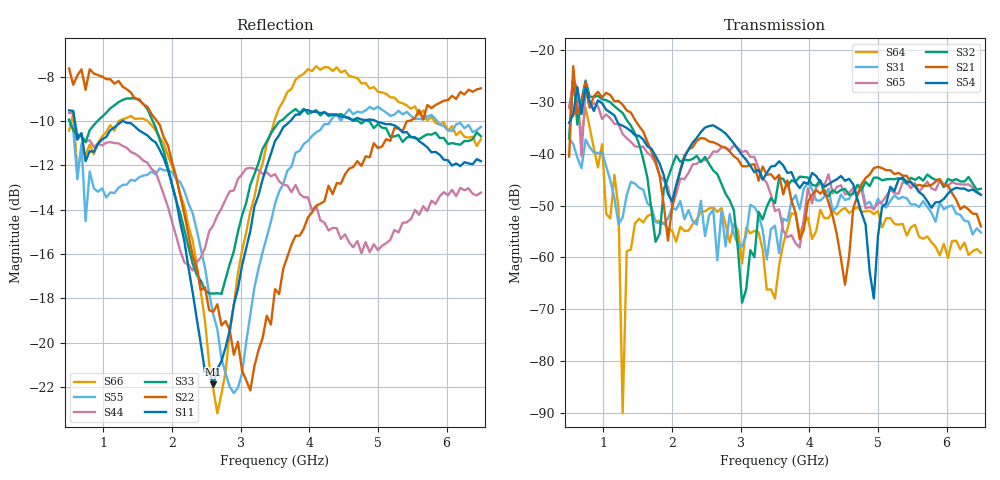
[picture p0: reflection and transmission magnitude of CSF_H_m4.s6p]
!Keysight Technologies,M9804A,MY58100912,A.14.10.03
!Date: Thursday, April 27, 2023 10:28:33
!Correction: S11(C  6-Port  )
!S12(C  6-Port  )
!S13(C  6-Port  )
!S14(C  6-Port  )
!S15(C  6-Port  )
!S16(C  6-Port  )
!S21(C  6-Port  )
!S22(C  6-Port  )
!S23(C  6-Port  )
!S24(C  6-Port  )
!S25(C  6-Port  )
!S26(C  6-Port  )
!S31(C  6-Port  )
!S32(C  6-Port  )
!S33(C  6-Port  )
!S34(C  6-Port  )
!S35(C  6-Port  )
!S36(C  6-Port  )
!S41(C  6-Port  )
!S42(C  6-Port  )
!S43(C  6-Port  )
!S44(C  6-Port  )
!S45(C  6-Port  )
!S46(C  6-Port  )
!S51(C  6-Port  )
!S52(C  6-Port  )
!S53(C  6-Port  )
!S54(C  6-Port  )
!S55(C  6-Port  )
!S56(C  6-Port  )
!S61(C  6-Port  )
!S62(C  6-Port  )
!S63(C  6-Port  )
!S64(C  6-Port  )
!S65(C  6-Port  )
!S66(C  6-Port  )
!S6P File: Measurement: :
# Hz S  RI  R 50
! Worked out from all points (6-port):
!   101 points, 500 MHz to 6.5 GHz, reference 50 ohm
!   strongest paths, dB at 500 MHz, 2 GHz, 3.5 GHz, 5 GHz, 6.5 GHz:
!     S54: -34.0, -49.2, -42.3, -55.9, -47.9
!     S21: -40.5, -50.5, -44.9, -42.5, -54.0
!     S32: -37.0, -42.4, -49.5, -44.6, -46.7
!     S65: -31.2, -50.1, -51.1, -49.6, -47.9
!     S31: -37.1, -50.4, -53.9, -48.7, -55.2
!     S64: -30.7, -54.9, -68.0, -51.0, -59.1
!   lowest |S11| = -21.9 dB at 2.6 GHz (marker M1), VSWR 1.18, Z = 42.8 + j1.93 ohm
!   |S11| at or under -10 dB: 581.2 MHz to 1.273 GHz (692.2 MHz wide, 74.6 % of centre); 1.29 GHz to 3.722 GHz (2.432 GHz wide, 97 % of centre); 4.969 GHz to end of sweep
